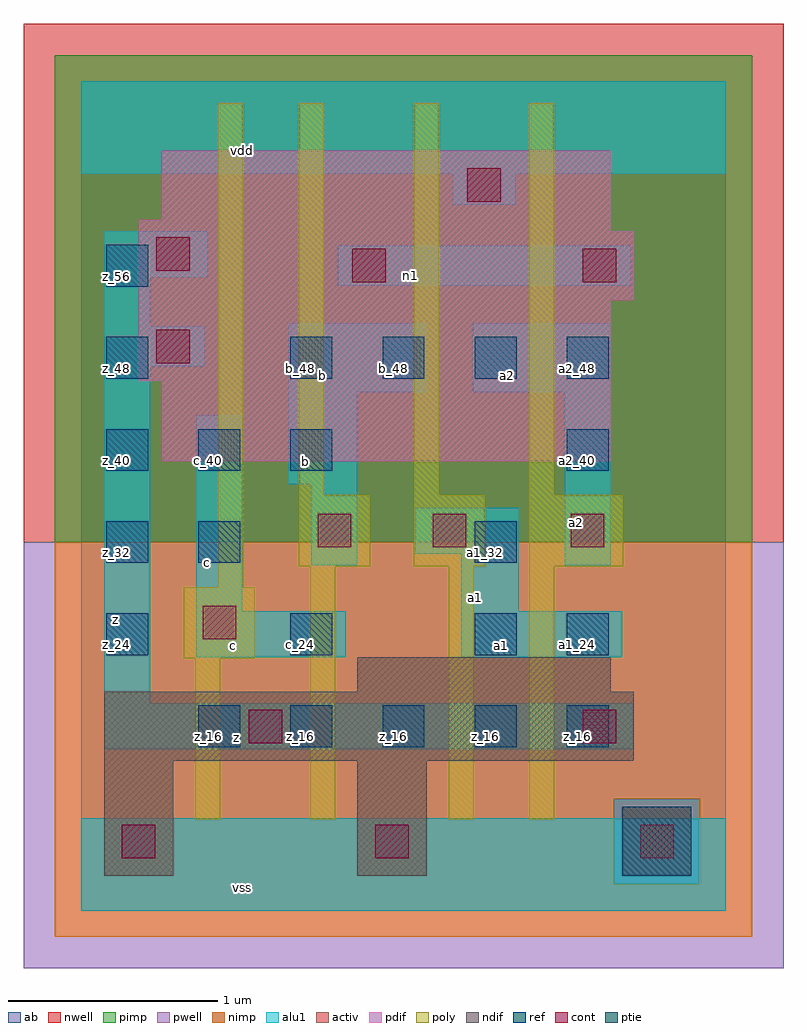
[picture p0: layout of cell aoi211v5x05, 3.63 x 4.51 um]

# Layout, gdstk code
import gdstk
lib = gdstk.Library(unit=1e-6, precision=2.5e-09)
def R(c, l, rs):  # rectangles x0, y0, x1, y1
    for r in rs: c.add(gdstk.rectangle(r[:2], r[2:], *l))
def A(c, l, x, y, w, h, nx, ny, dx, dy):  # array of equal rectangles
    R(c, l, [(x+i*dx, y+j*dy, x+i*dx+w, y+j*dy+h) for i in range(nx) for j in range(ny)])
ndif = (3, 0)
pdif = (4, 0)
ptie = (6, 0)
ref = (24, 0)
cont = (25, 0)
pwell = (41, 0)
nwell = (42, 0)
activ = (43, 0)
pimp = (44, 0)
nimp = (45, 0)
poly = (46, 0)
alu1 = (49, 0)
ab = (63, 0)

aoi211v5x05 = lib.new_cell('aoi211v5x05')
R(aoi211v5x05, ndif, [(0.11,0.165,0.44,0.715), (1.32,0.165,1.65,0.715), (0.11,0.715,2.64,1.045), (1.32,1.045,2.53,1.21)])
R(aoi211v5x05, pdif, [(0.385,2.145,2.53,2.53), (0.275,2.53,2.53,2.915), (0.275,2.915,2.64,3.245), (0.275,3.245,2.53,3.3), (0.385,3.3,2.53,3.63)])
R(aoi211v5x05, ptie, [(2.585,0.165,2.915,0.495)])
A(aoi211v5x05, ref, 0.56, 0.78, 0.2, 0.2, 5, 1, 0.44, 0)
A(aoi211v5x05, ref, 0.12, 1.22, 0.2, 0.2, 3, 1, 0.88, 0)
A(aoi211v5x05, ref, 0.12, 2.1, 0.2, 0.2, 3, 1, 0.44, 0)
A(aoi211v5x05, ref, 1, 2.54, 0.2, 0.2, 4, 1, 0.44, 0)
R(aoi211v5x05, ref, [(2.32,1.22,2.52,1.42), (0.12,1.66,0.32,1.86), (0.56,1.66,0.76,1.86), (1.88,1.66,2.08,1.86), (2.32,2.1,2.52,2.3), (0.12,2.54,0.32,2.74), (0.12,2.98,0.32,3.18)])
R(aoi211v5x05, cont, [(0.195,0.25,0.355,0.41), (1.405,0.25,1.565,0.41), (2.67,0.25,2.83,0.41), (0.8,0.8,0.96,0.96), (2.395,0.8,2.555,0.96), (0.58,1.295,0.74,1.455), (1.13,1.735,1.29,1.895), (1.68,1.735,1.84,1.895), (2.34,1.735,2.5,1.895), (0.36,2.615,0.52,2.775), (1.295,3,1.455,3.16), (2.395,3,2.555,3.16), (0.36,3.055,0.52,3.215), (1.845,3.385,2.005,3.545)])
R(aoi211v5x05, pwell, [(-0.275,-0.275,3.355,1.76)])
R(aoi211v5x05, nwell, [(-0.275,1.76,3.355,4.235)])
R(aoi211v5x05, activ, [(0.11,0.165,0.44,0.715), (1.32,0.165,1.65,0.715), (2.585,0.165,2.915,0.495), (0.11,0.715,2.64,1.045), (1.32,1.045,2.53,1.21), (0.385,2.145,2.53,2.53), (0.275,2.53,2.53,2.915), (0.275,2.915,2.64,3.245), (0.275,3.245,2.53,3.3), (0.385,3.3,2.53,3.63)])
R(aoi211v5x05, pimp, [(2.545,0.125,2.955,0.535), (-0.125,1.76,3.205,4.085)])
R(aoi211v5x05, nimp, [(-0.125,-0.125,3.205,0.125), (-0.125,0.125,2.545,0.535), (2.955,0.125,3.205,0.535), (-0.125,0.535,3.205,1.76)])
A(aoi211v5x05, poly, 1.04, 1.985, 0.12, 1.87, 3, 1, 0.55, 0)
R(aoi211v5x05, poly, [(0.545,0.435,0.665,1.205), (1.095,0.435,1.215,1.645), (1.755,0.435,1.875,1.645), (2.14,0.435,2.26,1.645), (0.49,1.205,0.83,1.545), (0.655,1.545,0.775,3.855), (1.04,1.645,1.38,1.985), (1.59,1.645,1.93,1.985), (2.14,1.645,2.59,1.985)])
R(aoi211v5x05, alu1, [(0,0,3.08,0.44), (0.11,0.77,2.64,0.99), (0.11,0.99,0.33,2.6), (0.55,1.21,1.265,1.43), (1.815,1.21,2.585,1.43), (0.55,1.43,0.77,2.365), (1.815,1.43,2.09,1.705), (1.1,1.65,1.32,2.035), (2.31,1.65,2.53,2.475), (1.595,1.705,2.09,1.925), (0.99,2.035,1.32,2.475), (0.99,2.475,1.65,2.805), (1.87,2.475,2.53,2.805), (0.11,2.6,0.59,2.79), (0.11,2.79,0.33,3.025), (1.225,2.985,2.625,3.175), (0.11,3.025,0.605,3.245), (1.775,3.37,2.075,3.52), (0,3.52,3.08,3.96)])
R(aoi211v5x05, ab, [(0,0,3.08,3.96)])
aoi211v5x05.add(gdstk.Label('vss', (0.77,0.11), layer=49, texttype=0))
aoi211v5x05.add(gdstk.Label('z', (0.7425,0.825), layer=49, texttype=0))
aoi211v5x05.add(gdstk.Label('a1', (2.0075,1.265), layer=49, texttype=0))
aoi211v5x05.add(gdstk.Label('c', (0.7275,1.265), layer=49, texttype=0))
aoi211v5x05.add(gdstk.Label('a2', (2.365,1.855), layer=49, texttype=0))
aoi211v5x05.add(gdstk.Label('a1', (1.8825,1.4975), layer=49, texttype=0))
aoi211v5x05.add(gdstk.Label('b', (1.0725,2.145), layer=49, texttype=0))
aoi211v5x05.add(gdstk.Label('c', (0.605,1.6625), layer=49, texttype=0))
aoi211v5x05.add(gdstk.Label('a2', (2.035,2.5575), layer=49, texttype=0))
aoi211v5x05.add(gdstk.Label('b', (1.155,2.5575), layer=49, texttype=0))
aoi211v5x05.add(gdstk.Label('z', (0.165,1.3925), layer=49, texttype=0))
aoi211v5x05.add(gdstk.Label('n1', (1.575,3.0325), layer=49, texttype=0))
aoi211v5x05.add(gdstk.Label('vdd', (0.77,3.63), layer=49, texttype=0))
aoi211v5x05.add(gdstk.Label('a2_48', (2.37,2.59), layer=24, texttype=0))
aoi211v5x05.add(gdstk.Label('a2_40', (2.37,2.15), layer=24, texttype=0))
aoi211v5x05.add(gdstk.Label('a1_24', (2.37,1.27), layer=24, texttype=0))
aoi211v5x05.add(gdstk.Label('z_16', (2.37,0.83), layer=24, texttype=0))
aoi211v5x05.add(gdstk.Label('z_56', (0.17,3.03), layer=24, texttype=0))
aoi211v5x05.add(gdstk.Label('z_48', (0.17,2.59), layer=24, texttype=0))
aoi211v5x05.add(gdstk.Label('z_40', (0.17,2.15), layer=24, texttype=0))
aoi211v5x05.add(gdstk.Label('z_32', (0.17,1.71), layer=24, texttype=0))
aoi211v5x05.add(gdstk.Label('z_24', (0.17,1.27), layer=24, texttype=0))
aoi211v5x05.add(gdstk.Label('a2_48', (1.93,2.59), layer=24, texttype=0))
aoi211v5x05.add(gdstk.Label('a1_32', (1.93,1.71), layer=24, texttype=0))
aoi211v5x05.add(gdstk.Label('a1_24', (1.93,1.27), layer=24, texttype=0))
aoi211v5x05.add(gdstk.Label('z_16', (1.93,0.83), layer=24, texttype=0))
aoi211v5x05.add(gdstk.Label('b_48', (1.49,2.59), layer=24, texttype=0))
aoi211v5x05.add(gdstk.Label('z_16', (1.49,0.83), layer=24, texttype=0))
aoi211v5x05.add(gdstk.Label('b_48', (1.05,2.59), layer=24, texttype=0))
aoi211v5x05.add(gdstk.Label('b_40', (1.05,2.15), layer=24, texttype=0))
aoi211v5x05.add(gdstk.Label('c_24', (1.05,1.27), layer=24, texttype=0))
aoi211v5x05.add(gdstk.Label('z_16', (1.05,0.83), layer=24, texttype=0))
aoi211v5x05.add(gdstk.Label('c_40', (0.61,2.15), layer=24, texttype=0))
aoi211v5x05.add(gdstk.Label('c_32', (0.61,1.71), layer=24, texttype=0))
aoi211v5x05.add(gdstk.Label('z_16', (0.61,0.83), layer=24, texttype=0))

lib.write_gds('aoi211v5x05.gds')
